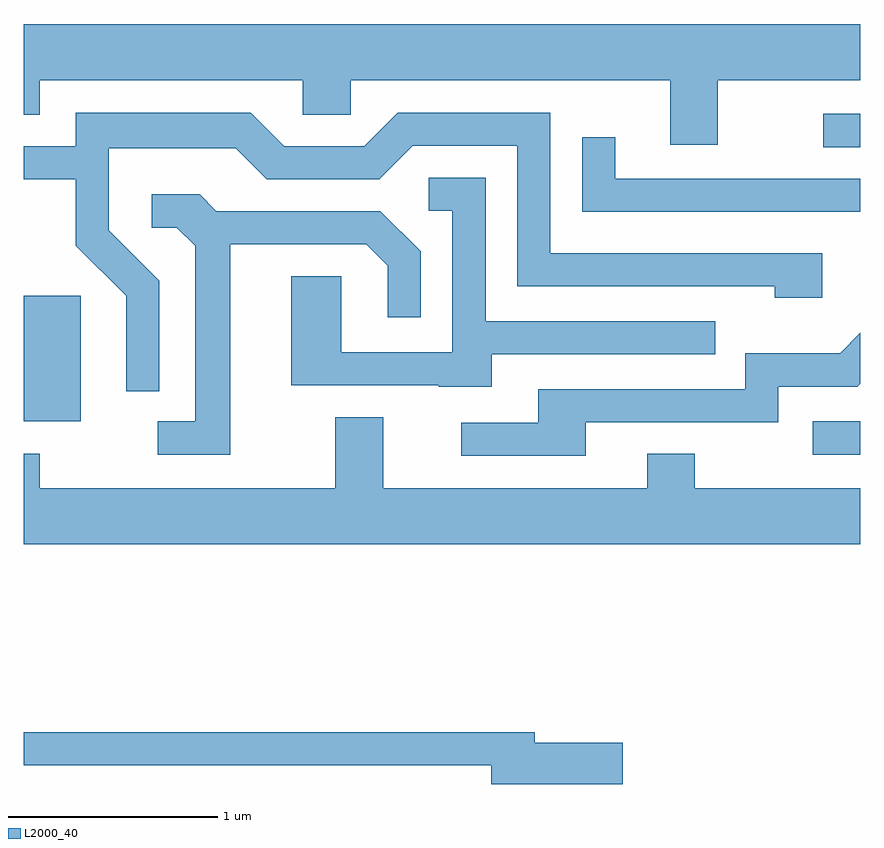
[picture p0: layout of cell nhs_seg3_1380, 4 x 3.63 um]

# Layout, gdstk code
import gdstk
lib = gdstk.Library(unit=1e-6, precision=1e-09)
def R(c, l, rs):  # rectangles x0, y0, x1, y1
    for r in rs: c.add(gdstk.rectangle(r[:2], r[2:], *l))
def P(c, l, *ps):  # polygons
    for p in ps: c.add(gdstk.Polygon(p, *l))
L2000_40 = (2000, 40)

nhs_seg3_1380 = lib.new_cell('nhs_seg3_1380')
R(nhs_seg3_1380, L2000_40, [(229.383,1157.526,229.611,1157.684), (225.611,1157.686,225.884,1158.284), (229.433,1158.996,229.611,1159.154)])
P(nhs_seg3_1380, L2000_40, [(228.929,1159.316),(229.611,1159.316),(229.611,1159.584),(225.611,1159.584),(225.611,1159.151),(225.689,1159.151),(225.689,1159.316),(226.946,1159.316),(226.946,1159.151),(227.174,1159.151),(227.174,1159.316),(228.701,1159.316),(228.701,1159.006),(228.929,1159.006)],
  [(226.259,1158.357),(226.019,1158.597),(226.019,1158.991),(226.624,1158.991),(226.774,1158.841),(227.312,1158.841),(227.472,1159.001),(227.971,1159.001),(227.971,1158.331),(229.201,1158.331),(229.201,1158.276),(229.429,1158.276),(229.429,1158.489),(228.129,1158.489),(228.129,1159.159),(227.399,1159.159),(227.239,1158.999),(226.857,1158.999),(226.697,1159.159),(225.861,1159.159),(225.861,1158.999),(225.611,1158.999),(225.611,1158.841),(225.861,1158.841),(225.861,1158.524),(226.101,1158.284),(226.101,1157.828),(226.259,1157.828)],
  [(229.611,1158.844),(228.439,1158.844),(228.439,1159.043),(228.281,1159.043),(228.281,1158.686),(229.611,1158.686)],
  [(227.849,1158.006),(228.918,1158.006),(228.918,1158.164),(227.819,1158.164),(227.819,1158.849),(227.548,1158.849),(227.548,1158.691),(227.661,1158.691),(227.661,1158.014),(227.129,1158.014),(227.129,1158.379),(226.891,1158.379),(226.891,1157.856),(227.595,1157.856),(227.595,1157.851),(227.849,1157.851)],
  [(226.599,1158.531),(227.249,1158.531),(227.351,1158.429),(227.351,1158.183),(227.509,1158.183),(227.509,1158.497),(227.317,1158.689),(226.532,1158.689),(226.452,1158.769),(226.223,1158.769),(226.223,1158.611),(226.344,1158.611),(226.431,1158.524),(226.431,1157.684),(226.253,1157.684),(226.253,1157.526),(226.599,1157.526)],
  [(228.299,1157.681),(229.219,1157.681),(229.219,1157.851),(229.597,1157.851),(229.611,1157.865),(229.611,1158.107),(229.514,1158.009),(229.061,1158.009),(229.061,1157.839),(228.071,1157.839),(228.071,1157.679),(227.703,1157.679),(227.703,1157.521),(228.299,1157.521)],
  [(225.611,1157.529),(225.611,1157.096),(229.611,1157.096),(229.611,1157.364),(228.819,1157.364),(228.819,1157.529),(228.591,1157.529),(228.591,1157.364),(227.329,1157.364),(227.329,1157.704),(227.101,1157.704),(227.101,1157.364),(225.689,1157.364),(225.689,1157.529)],
  [(228.474,1156.149),(228.054,1156.149),(228.054,1156.199),(225.611,1156.199),(225.611,1156.041),(227.846,1156.041),(227.846,1155.951),(228.474,1155.951)])

lib.write_gds('nhs_seg3_1380.gds')
